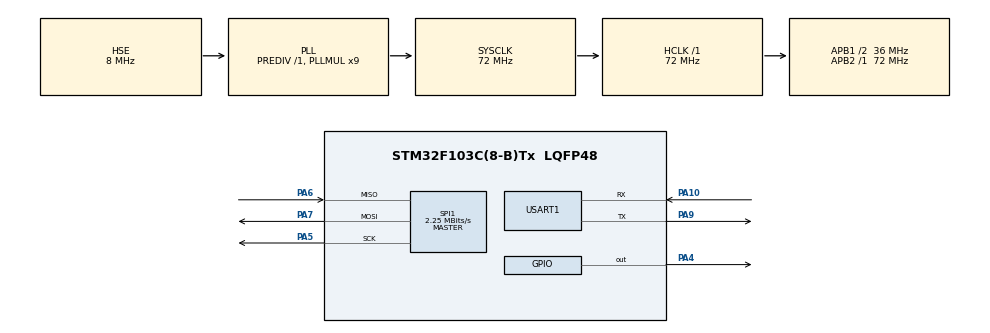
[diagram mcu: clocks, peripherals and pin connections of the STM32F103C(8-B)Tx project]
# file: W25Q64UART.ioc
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Mcu.Family=STM32F1
Mcu.Name=STM32F103C(8-B)Tx
Mcu.Package=LQFP48
NVIC.PriorityGroup=NVIC_PRIORITYGROUP_4
PA10.Mode=Asynchronous
PA10.Signal=USART1_RX
PA4.GPIO_Speed=GPIO_SPEED_FREQ_HIGH
PA4.Signal=GPIO_Output
PA5.Mode=Full_Duplex_Master
PA5.Signal=SPI1_SCK
PA6.Mode=Full_Duplex_Master
PA6.Signal=SPI1_MISO
PA7.Mode=Full_Duplex_Master
PA7.Signal=SPI1_MOSI
PA9.Mode=Asynchronous
PA9.Signal=USART1_TX
PD0-OSC_IN.Mode=HSE-External-Oscillator
PD0-OSC_IN.Signal=RCC_OSC_IN
PD1-OSC_OUT.Mode=HSE-External-Oscillator
PD1-OSC_OUT.Signal=RCC_OSC_OUT
ProjectManager.HeapSize=0x200
ProjectManager.StackSize=0x400
ProjectManager.TargetToolchain=STM32CubeIDE
RCC.AHBFreq_Value=72000000
RCC.APB1CLKDivider=RCC_HCLK_DIV2
RCC.APB1Freq_Value=36000000
RCC.APB1TimFreq_Value=72000000
RCC.APB2Freq_Value=72000000
RCC.APB2TimFreq_Value=72000000
RCC.HCLKFreq_Value=72000000
RCC.PLLMUL=RCC_PLL_MUL9
RCC.PLLSourceVirtual=RCC_PLLSOURCE_HSE
RCC.SYSCLKFreq_VALUE=72000000
RCC.SYSCLKSource=RCC_SYSCLKSOURCE_PLLCLK
RCC.USBFreq_Value=72000000
SPI1.BaudRatePrescaler=SPI_BAUDRATEPRESCALER_32
SPI1.CalculateBaudRate=2.25 MBits/s
SPI1.Direction=SPI_DIRECTION_2LINES
SPI1.Mode=SPI_MODE_MASTER
SPI1.VirtualType=VM_MASTER
USART1.VirtualMode=VM_ASYNC
VP_SYS_VS_ND.Mode=No_Debug
board=custom

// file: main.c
/* USER CODE BEGIN Header */
/**
  ******************************************************************************
  * @file           : main.c
  * @brief          : Main program body
  ******************************************************************************
  * @attention
  *
  * Copyright (c) 2025 STMicroelectronics.
  * All rights reserved.
  *
  * This software is licensed under terms that can be found in the LICENSE file
  * in the root directory of this software component.
  * If no LICENSE file comes with this software, it is provided AS-IS.
  *
  ******************************************************************************
  */
/* USER CODE END Header */
#include "main.h"

/* USER CODE BEGIN Includes */
#include <stdio.h>
#include <string.h>
/* USER CODE END Includes */

/* USER CODE BEGIN PM */
#define    W25_ENABLE_RESET  0x66
#define    W25_RESET  0x99
#define    W25_READ  0x03
#define    W25_GET_JEDEC_ID  0x9f
//-------------------------------------------------------------
#define cs_set() HAL_GPIO_WritePin(GPIOA,GPIO_PIN_4,GPIO_PIN_RESET)
#define cs_reset() HAL_GPIO_WritePin(GPIOA,GPIO_PIN_4,GPIO_PIN_SET)
//-------------------------------------------------------------
/* USER CODE END PM */

SPI_HandleTypeDef hspi1;

UART_HandleTypeDef huart1;

/* USER CODE BEGIN PV */
typedef struct
{
  uint16_t  PageSize;
  uint32_t  PageCount;
  uint32_t  SectorSize;
  uint32_t  SectorCount;
  uint32_t  BlockSize;
  uint32_t  BlockCount;
  uint32_t  NumKB;
  uint8_t   SR1;
  uint8_t   SR2;
  uint8_t   SR3;
}w25_info_t;
w25_info_t  w25_info;
char str1[30];
uint8_t rx_buf[1025];
uint8_t tx_buf[10];
/* USER CODE END PV */

void SystemClock_Config(void);
static void MX_GPIO_Init(void);
static void MX_SPI1_Init(void);
static void MX_USART1_UART_Init(void);

/* USER CODE BEGIN 0 */
//-------------------------------------------------------------
void SPI1_Send (uint8_t *dt, uint16_t cnt)
{
  HAL_SPI_Transmit (&hspi1, dt, cnt, 5000);

}
//-------------------------------------------------------------
void SPI1_Recv (uint8_t *dt, uint16_t cnt)
{
  HAL_SPI_Receive (&hspi1, dt, cnt, 5000);
}
//-------------------------------------------------------------
void W25_Reset (void)
{
  cs_set();
  tx_buf[0] = W25_ENABLE_RESET;
  tx_buf[1] = W25_RESET;
  SPI1_Send(tx_buf, 2);
  cs_reset();
}
//-------------------------------------------------------------
void W25_Read_Data(uint32_t addr, uint8_t* data, uint32_t sz)
{
  cs_set();
  tx_buf[0] = W25_READ;
  tx_buf[1] = (addr >> 16) & 0xFF;
  tx_buf[2] = (addr >> 8) & 0xFF;
  tx_buf[3] = addr & 0xFF;
  SPI1_Send(tx_buf, 4);
  SPI1_Recv(data, sz);
  cs_reset();
}
//-------------------------------------------------------------
uint32_t W25_Read_ID(void)
{
  uint8_t dt[4];
  tx_buf[0] = W25_GET_JEDEC_ID;
  cs_set();
  SPI1_Send(tx_buf, 1);
  SPI1_Recv(dt,3);
  cs_reset();
  return (dt[0] << 16) | (dt[1] << 8) | dt[2];
}
//-------------------------------------------------------------
void W25_Ini(void)
{
  HAL_Delay(100);
  W25_Reset();
  HAL_Delay(100);
  unsigned int id = W25_Read_ID();
  HAL_UART_Transmit(&huart1,(uint8_t*)"\r\n",2,0x1000);
  sprintf(str1,"ID:0x%X\r\n",id);
  HAL_UART_Transmit(&huart1,(uint8_t*)str1,strlen(str1),0x1000);
  id &= 0x0000ffff;
  switch(id)
  {
    case 0x401A:
      w25_info.BlockCount=1024;
      sprintf(str1,"w25qxx Chip: w25q512\r\n");
      break;
    case 0x4019:
      w25_info.BlockCount=512;
      sprintf(str1,"w25qxx Chip: w25q256\r\n");
      break;
    case 0x4018:
      w25_info.BlockCount=256;
      sprintf(str1,"w25qxx Chip: w25q128\r\n");
      break;
    case 0x4017:
      w25_info.BlockCount=128;
      sprintf(str1,"w25qxx Chip: w25q64\r\n");
      break;
    case 0x4016:
      w25_info.BlockCount=64;
      sprintf(str1,"w25qxx Chip: w25q32\r\n");
      break;
    case 0x4015:
      w25_info.BlockCount=32;
      sprintf(str1,"w25qxx Chip: w25q16\r\n");
      break;
    case 0x4014:
      w25_info.BlockCount=16;
      sprintf(str1,"w25qxx Chip: w25q80\r\n");
      break;
    case 0x4013:
      w25_info.BlockCount=8;
      sprintf(str1,"w25qxx Chip: w25q40\r\n");
      break;
    case 0x4012:
      w25_info.BlockCount=4;
      sprintf(str1,"w25qxx Chip: w25q20\r\n");
      break;
    case 0x4011:
      w25_info.BlockCount=2;
      sprintf(str1,"w25qxx Chip: w25q10\r\n");
      break;
    case 0x7017:
          w25_info.BlockCount=128;
          sprintf(str1,"w25qxx Chip: xm25qh64\r\n");
          break;
    default:
      sprintf(str1,"w25qxx Unknown ID\r\n");
      HAL_UART_Transmit(&huart1,(uint8_t*)str1,strlen(str1),0x1000);
      return;
  }
  HAL_UART_Transmit(&huart1,(uint8_t*)str1,strlen(str1),0x1000);
  w25_info.PageSize=256;
  w25_info.SectorSize=0x1000;
  w25_info.SectorCount=w25_info.BlockCount*16;
  w25_info.PageCount=(w25_info.SectorCount*w25_info.SectorSize)/w25_info.PageSize;
  w25_info.BlockSize=w25_info.SectorSize*16;
  w25_info.NumKB=(w25_info.SectorCount*w25_info.SectorSize)/1024;
  sprintf(str1,"Page Size: %d Bytes\r\n",(unsigned int)w25_info.PageSize);
  HAL_UART_Transmit(&huart1,(uint8_t*)str1,strlen(str1),0x1000);
  sprintf(str1,"Page Count: %u\r\n",(unsigned int)w25_info.PageCount);
  HAL_UART_Transmit(&huart1,(uint8_t*)str1,strlen(str1),0x1000);
  sprintf(str1,"Sector Size: %u Bytes\r\n",(unsigned int)w25_info.SectorSize);
  HAL_UART_Transmit(&huart1,(uint8_t*)str1,strlen(str1),0x1000);
  sprintf(str1,"Sector Count: %u\r\n",(unsigned int)w25_info.SectorCount);
  HAL_UART_Transmit(&huart1,(uint8_t*)str1,strlen(str1),0x1000);
  sprintf(str1,"Block Size: %u Bytes\r\n",(unsigned int)w25_info.BlockSize);
  HAL_UART_Transmit(&huart1,(uint8_t*)str1,strlen(str1),0x1000);
  sprintf(str1,"Block Count: %u\r\n",(unsigned int)w25_info.BlockCount);
  HAL_UART_Transmit(&huart1,(uint8_t*)str1,strlen(str1),0x1000);
  sprintf(str1,"Capacity: %u KB\r\n",(unsigned int)w25_info.NumKB);
  HAL_UART_Transmit(&huart1,(uint8_t*)str1,strlen(str1),0x1000);
}
//-------------------------------------------------------------
/* USER CODE END 0 */

int main(void)
{

  /* MCU Configuration--------------------------------------------------------*/

  /* Reset of all peripherals, Initializes the Flash interface and the Systick. */
  HAL_Init();

  /* Configure the system clock */
  SystemClock_Config();

  /* Initialize all configured peripherals */
  MX_GPIO_Init();
  MX_SPI1_Init();
  MX_USART1_UART_Init();
  /* USER CODE BEGIN 2 */
  W25_Ini();
  /* USER CODE END 2 */

  /* Infinite loop */
  while (1)
  {

  }
}

void SystemClock_Config(void)
{
  RCC_OscInitTypeDef RCC_OscInitStruct = {0};
  RCC_ClkInitTypeDef RCC_ClkInitStruct = {0};

  /** Initializes the RCC Oscillators according to the specified parameters
  * in the RCC_OscInitTypeDef structure.
  */
  RCC_OscInitStruct.OscillatorType = RCC_OSCILLATORTYPE_HSE;
  RCC_OscInitStruct.HSEState = RCC_HSE_ON;
  RCC_OscInitStruct.HSEPredivValue = RCC_HSE_PREDIV_DIV1;
  RCC_OscInitStruct.HSIState = RCC_HSI_ON;
  RCC_OscInitStruct.PLL.PLLState = RCC_PLL_ON;
  RCC_OscInitStruct.PLL.PLLSource = RCC_PLLSOURCE_HSE;
  RCC_OscInitStruct.PLL.PLLMUL = RCC_PLL_MUL9;
  if (HAL_RCC_OscConfig(&RCC_OscInitStruct) != HAL_OK)
  {
    Error_Handler();
  }

  /** Initializes the CPU, AHB and APB buses clocks
  */
  RCC_ClkInitStruct.ClockType = RCC_CLOCKTYPE_HCLK|RCC_CLOCKTYPE_SYSCLK
                              |RCC_CLOCKTYPE_PCLK1|RCC_CLOCKTYPE_PCLK2;
  RCC_ClkInitStruct.SYSCLKSource = RCC_SYSCLKSOURCE_PLLCLK;
  RCC_ClkInitStruct.AHBCLKDivider = RCC_SYSCLK_DIV1;
  RCC_ClkInitStruct.APB1CLKDivider = RCC_HCLK_DIV2;
  RCC_ClkInitStruct.APB2CLKDivider = RCC_HCLK_DIV1;

  if (HAL_RCC_ClockConfig(&RCC_ClkInitStruct, FLASH_LATENCY_2) != HAL_OK)
  {
    Error_Handler();
  }
}

static void MX_SPI1_Init(void)
{

  /* SPI1 parameter configuration*/
  hspi1.Instance = SPI1;
  hspi1.Init.Mode = SPI_MODE_MASTER;
  hspi1.Init.Direction = SPI_DIRECTION_2LINES;
  hspi1.Init.DataSize = SPI_DATASIZE_8BIT;
  hspi1.Init.CLKPolarity = SPI_POLARITY_LOW;
  hspi1.Init.CLKPhase = SPI_PHASE_1EDGE;
  hspi1.Init.NSS = SPI_NSS_SOFT;
  hspi1.Init.BaudRatePrescaler = SPI_BAUDRATEPRESCALER_32;
  hspi1.Init.FirstBit = SPI_FIRSTBIT_MSB;
  hspi1.Init.TIMode = SPI_TIMODE_DISABLE;
  hspi1.Init.CRCCalculation = SPI_CRCCALCULATION_DISABLE;
  hspi1.Init.CRCPolynomial = 10;
  if (HAL_SPI_Init(&hspi1) != HAL_OK)
  {
    Error_Handler();
  }

}

static void MX_USART1_UART_Init(void)
{

  huart1.Instance = USART1;
  huart1.Init.BaudRate = 115200;
  huart1.Init.WordLength = UART_WORDLENGTH_8B;
  huart1.Init.StopBits = UART_STOPBITS_1;
  huart1.Init.Parity = UART_PARITY_NONE;
  huart1.Init.Mode = UART_MODE_TX_RX;
  huart1.Init.HwFlowCtl = UART_HWCONTROL_NONE;
  huart1.Init.OverSampling = UART_OVERSAMPLING_16;
  if (HAL_UART_Init(&huart1) != HAL_OK)
  {
    Error_Handler();
  }

}

static void MX_GPIO_Init(void)
{
  GPIO_InitTypeDef GPIO_InitStruct = {0};

  /* GPIO Ports Clock Enable */
  __HAL_RCC_GPIOD_CLK_ENABLE();
  __HAL_RCC_GPIOA_CLK_ENABLE();

  /*Configure GPIO pin Output Level */
  HAL_GPIO_WritePin(GPIOA, GPIO_PIN_4, GPIO_PIN_RESET);

  /*Configure GPIO pin : PA4 */
  GPIO_InitStruct.Pin = GPIO_PIN_4;
  GPIO_InitStruct.Mode = GPIO_MODE_OUTPUT_PP;
  GPIO_InitStruct.Pull = GPIO_NOPULL;
  GPIO_InitStruct.Speed = GPIO_SPEED_FREQ_HIGH;
  HAL_GPIO_Init(GPIOA, &GPIO_InitStruct);

}

void Error_Handler(void)
{
  __disable_irq();
  while (1)
  {
  }
}
